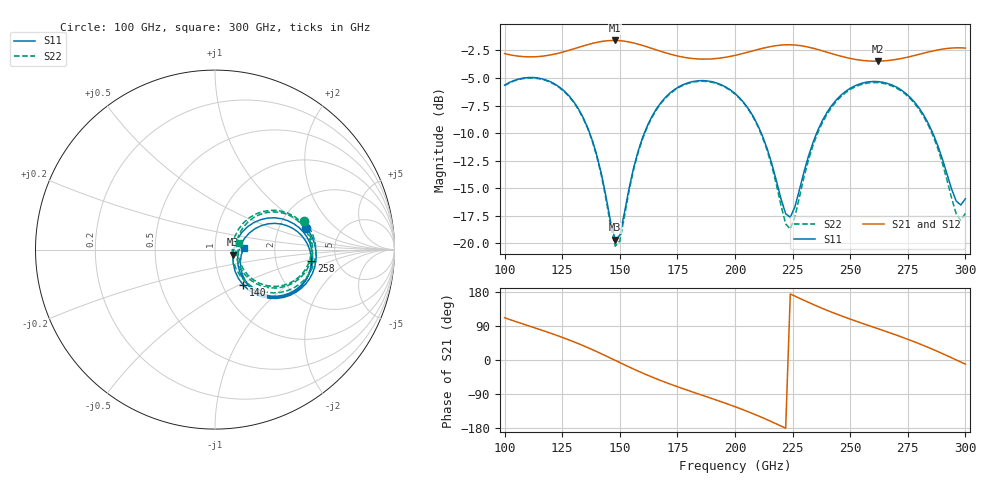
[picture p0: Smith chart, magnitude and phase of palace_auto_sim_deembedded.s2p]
! Created with skrf 1.11.0 (http://scikit-rf.org).
# GHz S DB R 50.0
!freq dBS11 angS11 dBS21 angS21 dBS12 angS12 dBS22 angS22
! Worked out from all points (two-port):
!   101 points, 100 GHz to 300 GHz, reference 50 ohm
!   highest |S21| = -1.60 dB at 148 GHz (marker M1); lowest = -3.5 dB at 262 GHz (marker M2)
!   |S21| within 3 dB of the highest: start of sweep to end of sweep
!   lowest |S11| = -19.7 dB at 148 GHz (marker M3), VSWR 1.23, Z = 61 - j3.58 ohm
!   |S11| at or under -10 dB: 136.9 GHz to 160.7 GHz (23.73 GHz wide, 15.9 % of centre); 211.4 GHz to 235.4 GHz (24.04 GHz wide, 10.8 % of centre); 285.9 GHz to end of sweep
!   |S22| runs from -20.2 to -5.0 dB; largest |S21 - S12| = 1.4e-13
!   S11 on the Smith chart (normalised r, x): 100 GHz: 2.83, +0.95; 140 GHz: 1.25, -0.52; 258 GHz: 3.24, -0.58; 300 GHz: 1.38, +0.02
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100  -5.65 13.5  -2.79 111.6  -2.79 111.6  -5.69 17.9
116  -5.06 -13.8  -3.03 78.9  -3.03 78.9  -5.11 -9.0
126  -6.20 -31.3  -2.60 57.5  -2.60 57.5  -6.26 -26.2
134  -8.55 -44.9  -2.10 38.1  -2.10 38.1  -8.62 -39.8
140  -11.99 -51.4  -1.77 22.0  -1.77 22.0  -12.11 -46.5
148  -19.67 -16.2  -1.60 -0.9  -1.60 -0.9  -20.25 -10.6
150  -19.25 8.4  -1.62 -6.8  -1.62 -6.8  -19.79 16.0
158  -11.60 34.9  -1.93 -29.4  -1.93 -29.4  -11.73 42.9
168  -7.19 21.6  -2.60 -54.7  -2.60 -54.7  -7.26 29.4
184  -5.25 -5.0  -3.27 -89.3  -3.27 -89.3  -5.31 2.9
200  -6.41 -30.7  -2.95 -123.2  -2.95 -123.2  -6.46 -22.9
212  -10.29 -46.4  -2.31 -152.4  -2.31 -152.4  -10.41 -39.4
222  -17.31 -22.4  -1.99 -180.0  -1.99 -180.0  -18.23 -15.8
224  -17.62 -5.0  -1.99 174.3  -1.99 174.3  -18.70 4.2
234  -10.76 27.4  -2.31 146.4  -2.31 146.4  -11.04 39.6
244  -6.98 15.4  -2.91 121.4  -2.91 121.4  -7.11 26.9
258  -5.35 -6.7  -3.46 91.0  -3.46 91.0  -5.44 4.3
262  -5.33 -13.1  -3.47 82.7  -3.47 82.7  -5.42 -2.1
268  -5.62 -22.5  -3.38 70.1  -3.38 70.1  -5.72 -11.7
284  -9.16 -44.8  -2.64 32.8  -2.64 32.8  -9.33 -35.5
296  -16.15 -24.8  -2.26 0.3  -2.26 0.3  -17.32 -16.6
300  -15.95 2.7  -2.29 -11.0  -2.29 -11.0  -17.27 16.7
